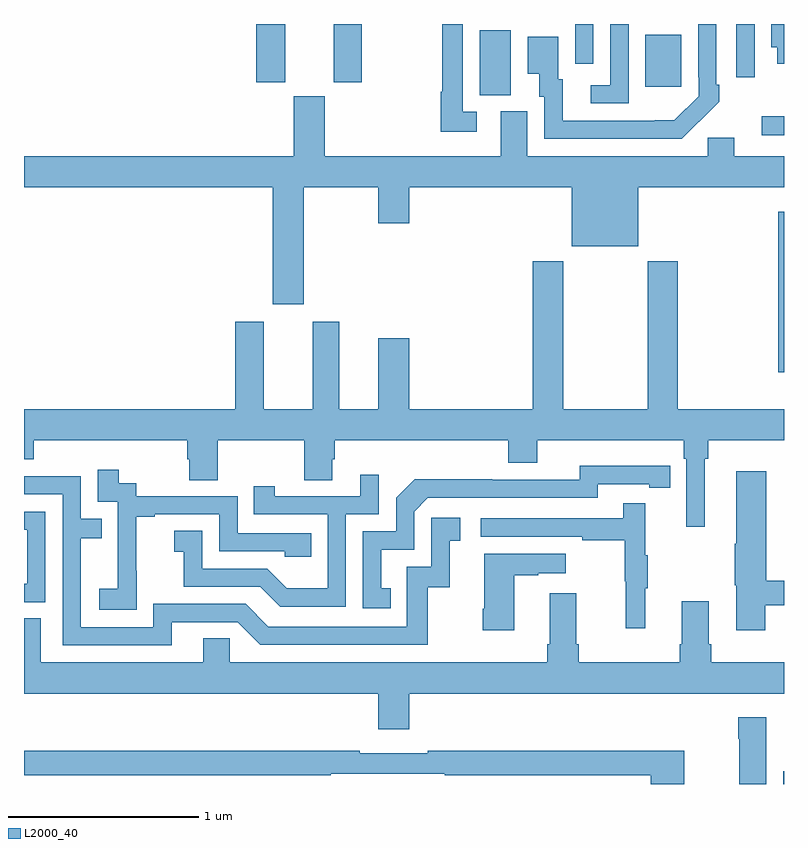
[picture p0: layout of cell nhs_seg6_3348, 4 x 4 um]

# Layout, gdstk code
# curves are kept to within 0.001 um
import gdstk
lib = gdstk.Library(unit=1e-6, precision=1e-09)
def R(c, l, rs):  # rectangles x0, y0, x1, y1
    for r in rs: c.add(gdstk.rectangle(r[:2], r[2:], *l))
def P(c, l, *ps):  # polygons
    for p in ps: c.add(gdstk.Polygon(p, *l))
L2000_40 = (2000, 40)

nhs_seg6_3348 = lib.new_cell('nhs_seg6_3348')
R(nhs_seg6_3348, L2000_40, [(310.995,973.5,311,973.567), (310.969,975.666,311,976.513), (310.884,976.914,311,977.015), (309.398,977.125,309.562,977.468), (310.271,977.169,310.459,977.443), (308.222,977.193,308.374,977.5), (308.63,977.193,308.778,977.5), (310.749,977.22,310.845,977.5), (309.9,977.292,309.996,977.5)])
P(nhs_seg6_3348, L2000_40, [(310.553,976.987),(310.554,976.986),(310.659,977.091),(310.659,977.179),(310.644,977.179),(310.644,977.5),(310.548,977.5),(310.548,977.221),(310.551,977.221),(310.551,977.121),(310.423,976.993),(309.835,976.992),(309.835,977.208),(309.811,977.208),(309.811,977.434),(309.65,977.434),(309.65,977.237),(309.713,977.237),(309.713,977.118),(309.738,977.118),(309.738,976.896),(310.462,976.896)],
  [(309.382,977.037),(309.309,977.037),(309.309,977.5),(309.201,977.5),(309.201,977.144),(309.193,977.144),(309.193,976.932),(309.382,976.932)],
  [(311,977.5),(310.934,977.5),(310.934,977.378),(310.964,977.378),(310.964,977.291),(311,977.291)],
  [(310.182,977.5),(310.086,977.5),(310.086,977.178),(309.984,977.178),(309.984,977.082),(310.182,977.082)],
  [(308.473,976.64),(308.864,976.64),(308.864,976.452),(309.028,976.452),(309.028,976.64),(309.884,976.64),(309.884,976.331),(310.234,976.331),(310.234,976.64),(311,976.64),(311,976.804),(310.738,976.804),(310.738,976.902),(310.599,976.902),(310.599,976.804),(309.649,976.804),(309.649,977.04),(309.509,977.04),(309.509,976.804),(308.584,976.804),(308.584,977.121),(308.42,977.121),(308.42,976.804),(307,976.804),(307,976.64),(308.309,976.64),(308.309,976.026),(308.473,976.026)],
  [(310.582,975.212),(310.601,975.212),(310.601,975.308),(311,975.308),(311,975.472),(310.442,975.472),(310.442,976.252),(310.282,976.252),(310.282,975.472),(309.837,975.472),(309.837,976.252),(309.677,976.252),(309.677,975.472),(309.028,975.472),(309.028,975.847),(308.864,975.847),(308.864,975.472),(308.659,975.472),(308.659,975.934),(308.519,975.934),(308.519,975.472),(308.263,975.472),(308.263,975.934),(308.111,975.934),(308.111,975.472),(307,975.472),(307,975.209),(307.052,975.209),(307.052,975.308),(307.859,975.308),(307.859,975.21),(307.871,975.21),(307.871,975.1),(308.019,975.1),(308.019,975.308),(308.476,975.308),(308.476,975.1),(308.623,975.1),(308.623,975.21),(308.636,975.21),(308.636,975.308),(309.548,975.308),(309.548,975.191),(309.7,975.191),(309.7,975.308),(310.472,975.308),(310.472,975.212),(310.485,975.212),(310.485,974.853),(310.582,974.853)],
  [(308.93,974.529),(308.881,974.529),(308.881,974.733),(309.054,974.733),(309.054,974.934),(309.126,975.006),(310.02,975.006),(310.02,975.078),(310.292,975.078),(310.292,975.058),(310.4,975.058),(310.4,975.174),(309.924,975.175),(309.924,975.102),(309.464,975.102),(309.464,975.104),(309.056,975.104),(308.958,975.006),(308.958,974.829),(308.784,974.829),(308.784,974.424),(308.93,974.424)],
  [(307.593,974.623),(307.592,974.623),(307.592,974.907),(307.687,974.907),(307.687,974.919),(308.028,974.919),(308.028,974.724),(308.373,974.724),(308.373,974.697),(308.513,974.697),(308.513,974.82),(308.124,974.82),(308.124,975.015),(307.59,975.015),(307.59,975.084),(307.498,975.084),(307.498,975.154),(307.389,975.154),(307.389,974.985),(307.494,974.985),(307.494,974.756),(307.493,974.756),(307.493,974.527),(307.395,974.527),(307.395,974.417),(307.593,974.417)],
  [(310.902,974.442),(311,974.442),(311,974.57),(310.907,974.57),(310.907,975.145),(310.748,975.145),(310.748,974.765),(310.741,974.765),(310.741,974.547),(310.748,974.547),(310.748,974.31),(310.902,974.31)],
  [(308.694,974.919),(308.868,974.919),(308.868,975.127),(308.771,975.127),(308.771,975.015),(308.32,975.015),(308.32,975.067),(308.209,975.067),(308.209,974.919),(308.598,974.919),(308.598,974.53),(308.384,974.53),(308.28,974.634),(307.938,974.634),(307.938,974.833),(307.791,974.833),(307.791,974.723),(307.84,974.723),(307.84,974.538),(308.243,974.538),(308.348,974.433),(308.694,974.433)],
  [(307.777,974.352),(308.124,974.352),(308.244,974.232),(309.124,974.232),(309.124,974.535),(309.242,974.535),(309.242,974.781),(309.295,974.781),(309.295,974.902),(309.144,974.902),(309.144,974.643),(309.015,974.643),(309.015,974.328),(308.286,974.328),(308.166,974.448),(307.68,974.448),(307.68,974.325),(307.299,974.325),(307.299,974.794),(307.409,974.794),(307.409,974.895),(307.299,974.895),(307.299,975.12),(307,975.12),(307,975.024),(307.203,975.024),(307.203,974.229),(307.777,974.229)],
  [(310.271,974.531),(310.282,974.531),(310.282,974.705),(310.271,974.705),(310.271,974.977),(310.153,974.977),(310.153,974.898),(309.405,974.898),(309.405,974.802),(309.937,974.802),(309.937,974.782),(310.161,974.782),(310.161,974.568),(310.168,974.568),(310.168,974.319),(310.271,974.319)],
  [(307.113,974.934),(307,974.934),(307,974.838),(307.017,974.838),(307.017,974.553),(307,974.553),(307,974.457),(307.113,974.457)],
  [(309.58,974.599),(309.707,974.599),(309.707,974.609),(309.85,974.609),(309.85,974.713),(309.422,974.713),(309.422,974.422),(309.415,974.422),(309.415,974.31),(309.58,974.31)],
  [(309.028,973.976),(311,973.976),(311,974.14),(310.616,974.14),(310.616,974.236),(310.603,974.236),(310.603,974.461),(310.463,974.461),(310.463,974.236),(310.451,974.236),(310.451,974.14),(309.92,974.14),(309.92,974.236),(309.907,974.236),(309.907,974.503),(309.767,974.503),(309.767,974.236),(309.755,974.236),(309.755,974.14),(308.082,974.14),(308.082,974.267),(307.943,974.267),(307.943,974.14),(307.087,974.14),(307.087,974.372),(307,974.372),(307,973.976),(308.864,973.976),(308.864,973.788),(309.028,973.788)],
  [(310.906,973.852),(310.76,973.852),(310.76,973.739),(310.765,973.739),(310.765,973.5),(310.906,973.5)],
  [(310.476,973.675),(309.124,973.675),(309.124,973.662),(308.768,973.662),(308.768,973.675),(307,973.675),(307,973.546),(308.614,973.546),(308.614,973.554),(309.214,973.554),(309.214,973.546),(310.298,973.546),(310.298,973.5),(310.476,973.5)])

lib.write_gds('nhs_seg6_3348.gds')
